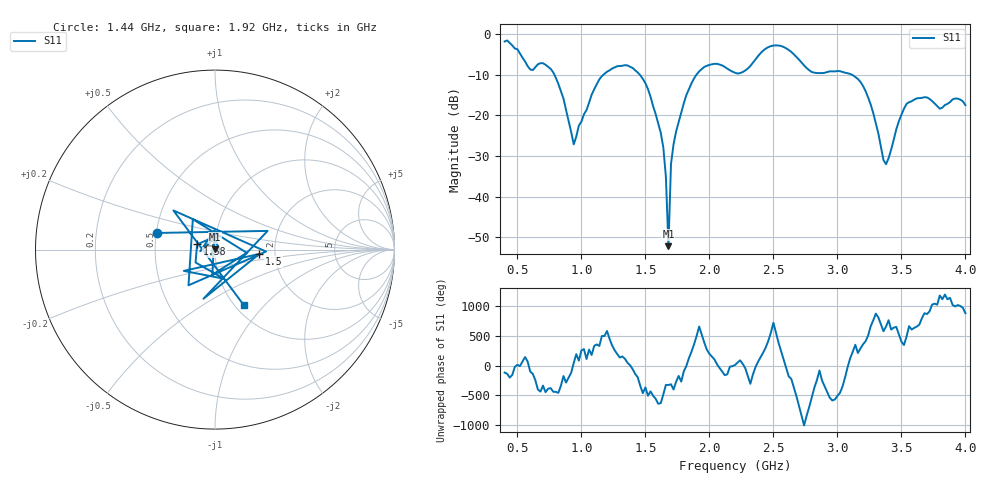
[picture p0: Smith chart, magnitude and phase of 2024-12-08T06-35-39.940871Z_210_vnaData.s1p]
!Created with skrf (http://scikit-rf.org).
# Hz S RI R 50.0
!freq ReS11 ImS11
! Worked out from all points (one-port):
!   181 points, 400 MHz to 4 GHz, reference 50 ohm
!   lowest |S11| = -52.2 dB at 1.68 GHz (marker M1), VSWR 1.00, Z = 50.2 + j0.139 ohm
!   |S11| at or under -10 dB: 788.8 MHz to 1.172 GHz (383.7 MHz wide, 39.1 % of centre); 1.456 GHz to 1.899 GHz (442.9 MHz wide, 26.4 % of centre); 3.113 GHz to end of sweep
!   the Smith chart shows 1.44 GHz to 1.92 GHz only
!   S11 on the Smith chart (normalised r, x): 1.44 GHz: 0.50, +0.11; 1.5 GHz: 1.66, -0.08; 1.58 GHz: 0.82, +0.05; 1.92 GHz: 1.10, -0.77
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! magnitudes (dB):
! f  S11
! 400 MHz  -1.8
! 600 MHz  -8.7
! 760 MHz  -8.6
! 860 MHz  -15.9
! 940 MHz  -27.1
! 1.14 GHz  -11.1
! 1.3 GHz  -7.9
! 1.44 GHz  -9.4
! 1.5 GHz  -12.1
! 1.58 GHz  -19.7
! 1.64 GHz  -27.9
! 1.66 GHz  -35.1
! 1.68 GHz  -52.2
! 1.7 GHz  -32.0
! 1.76 GHz  -21.7
! 1.82 GHz  -15.0
! 1.92 GHz  -9.2
! 2.06 GHz  -7.3
! 2.2 GHz  -9.5
! 2.48 GHz  -3.0
! 2.66 GHz  -5.0
! 2.8 GHz  -9.3
! 3.1 GHz  -9.8
! 3.24 GHz  -15.6
! 3.38 GHz  -32.0
! 3.48 GHz  -21.5
! 3.56 GHz  -16.8
! 4 GHz  -17.5
